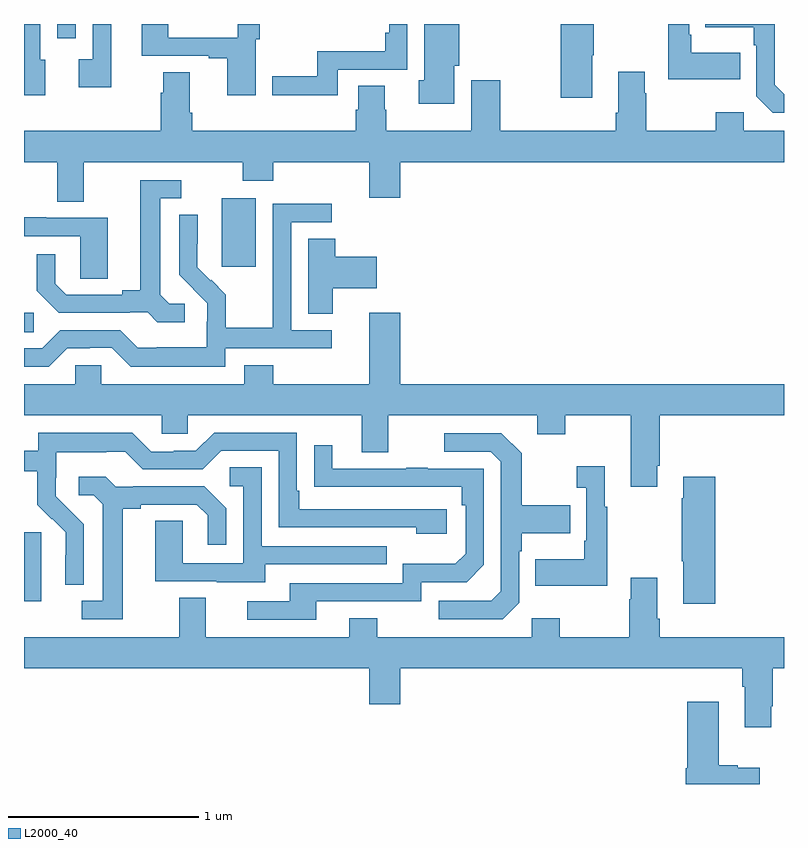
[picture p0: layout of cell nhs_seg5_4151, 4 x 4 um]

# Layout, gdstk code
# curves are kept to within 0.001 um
import gdstk
lib = gdstk.Library(unit=1e-6, precision=1e-09)
def R(c, l, rs):  # rectangles x0, y0, x1, y1
    for r in rs: c.add(gdstk.rectangle(r[:2], r[2:], *l))
def P(c, l, *ps):  # polygons
    for p in ps: c.add(gdstk.Polygon(p, *l))
L2000_40 = (2000, 40)

nhs_seg5_4151 = lib.new_cell('nhs_seg5_4151')
R(nhs_seg5_4151, L2000_40, [(355,875.762,355.09,876.123), (355,877.177,355.051,877.278), (356.042,877.521,356.221,877.882), (355.176,878.724,355.272,878.799)])
P(nhs_seg5_4151, L2000_40, [(358.769,878.647),(358.513,878.647),(358.513,878.743),(358.5,878.743),(358.5,878.799),(358.392,878.799),(358.392,878.507),(358.769,878.507)],
  [(356.22,878.72),(356.24,878.72),(356.24,878.799),(356.124,878.799),(356.124,878.727),(355.759,878.727),(355.759,878.799),(355.619,878.799),(355.619,878.631),(355.973,878.631),(355.973,878.619),(356.069,878.619),(356.069,878.424),(356.22,878.424)],
  [(355.111,878.61),(355.086,878.61),(355.086,878.799),(355,878.799),(355,878.423),(355.111,878.423)],
  [(359,878.428),(358.95,878.478),(358.95,878.799),(358.585,878.799),(358.585,878.783),(358.842,878.783),(358.842,878.687),(358.854,878.687),(358.854,878.418),(358.941,878.331),(359,878.331)],
  [(356.652,878.559),(357.018,878.559),(357.018,878.799),(356.922,878.799),(356.922,878.752),(356.902,878.752),(356.902,878.656),(356.544,878.656),(356.544,878.525),(356.307,878.525),(356.307,878.423),(356.652,878.423)],
  [(357.991,878.635),(357.999,878.635),(357.999,878.799),(357.824,878.799),(357.824,878.412),(357.991,878.412)],
  [(355.459,878.799),(355.362,878.799),(355.362,878.614),(355.287,878.614),(355.287,878.466),(355.459,878.466)],
  [(357.265,878.58),(357.292,878.58),(357.292,878.799),(357.107,878.799),(357.107,878.504),(357.077,878.504),(357.077,878.378),(357.265,878.378)],
  [(359,878.236),(358.788,878.236),(358.788,878.335),(358.642,878.335),(358.642,878.236),(358.275,878.236),(358.275,878.435),(358.267,878.435),(358.267,878.548),(358.127,878.548),(358.127,878.332),(358.115,878.332),(358.115,878.236),(357.506,878.236),(357.506,878.503),(357.353,878.503),(357.353,878.236),(356.907,878.236),(356.907,878.349),(356.899,878.349),(356.899,878.474),(356.759,878.474),(356.759,878.349),(356.747,878.349),(356.747,878.236),(355.886,878.236),(355.886,878.332),(355.873,878.332),(355.873,878.546),(355.733,878.546),(355.733,878.438),(355.721,878.438),(355.721,878.236),(355,878.236),(355,878.072),(355.175,878.072),(355.175,877.864),(355.315,877.864),(355.315,878.072),(356.152,878.072),(356.152,877.973),(356.312,877.973),(356.312,878.072),(356.816,878.072),(356.816,877.884),(356.98,877.884),(356.98,878.072),(359,878.072)],
  [(355.846,877.326),(355.764,877.326),(355.717,877.373),(355.717,877.881),(355.828,877.881),(355.828,877.977),(355.613,877.977),(355.613,877.397),(355.517,877.397),(355.517,877.374),(355.222,877.374),(355.165,877.431),(355.165,877.588),(355.068,877.588),(355.068,877.394),(355.184,877.278),(355.556,877.278),(355.556,877.281),(355.65,877.281),(355.702,877.229),(355.846,877.229)],
  [(356.058,877.092),(356.62,877.092),(356.62,877.188),(356.406,877.188),(356.406,877.755),(356.62,877.755),(356.62,877.854),(356.31,877.854),(356.31,877.424),(356.308,877.424),(356.308,877.201),(356.063,877.201),(356.063,877.375),(355.986,877.452),(355.983,877.449),(355.913,877.52),(355.914,877.796),(355.818,877.796),(355.818,877.478),(355.964,877.33),(355.964,877.233),(355.962,877.233),(355.962,877.099),(355.699,877.099),(355.699,877.095),(355.599,877.095),(355.506,877.188),(355.191,877.188),(355.095,877.092),(355,877.092),(355,876.996),(355.131,876.996),(355.227,877.092),(355.346,877.092),(355.346,877.095),(355.461,877.095),(355.561,876.995),(356.058,876.995)],
  [(355.441,877.779),(355.117,877.779),(355.117,877.783),(355,877.783),(355,877.683),(355.296,877.683),(355.296,877.459),(355.441,877.459)],
  [(356.626,877.409),(356.857,877.409),(356.857,877.575),(356.639,877.575),(356.639,877.67),(356.495,877.67),(356.495,877.273),(356.626,877.273)],
  [(358.333,876.475),(358.346,876.475),(358.346,876.74),(359,876.74),(359,876.904),(356.98,876.904),(356.98,877.279),(356.816,877.279),(356.816,876.904),(356.312,876.904),(356.312,877.003),(356.159,877.003),(356.159,876.904),(355.407,876.904),(355.407,877.002),(355.269,877.002),(355.269,876.904),(355,876.904),(355,876.74),(355.725,876.74),(355.725,876.642),(355.863,876.642),(355.863,876.74),(356.777,876.74),(356.777,876.546),(356.917,876.546),(356.917,876.74),(357.701,876.74),(357.701,876.641),(357.849,876.641),(357.849,876.74),(358.193,876.74),(358.193,876.363),(358.333,876.363)],
  [(355.314,876.166),(355.168,876.314),(355.168,876.411),(355.17,876.411),(355.17,876.545),(355.433,876.545),(355.433,876.549),(355.533,876.549),(355.626,876.456),(355.941,876.456),(356.037,876.552),(356.34,876.552),(356.34,876.15),(357.065,876.15),(357.065,876.116),(357.226,876.116),(357.226,876.246),(356.449,876.246),(356.449,876.343),(356.436,876.343),(356.436,876.648),(356.001,876.648),(355.905,876.552),(355.787,876.552),(355.787,876.549),(355.671,876.549),(355.571,876.649),(355.074,876.649),(355.074,876.552),(355,876.552),(355,876.444),(355.069,876.444),(355.069,876.269),(355.146,876.192),(355.149,876.195),(355.22,876.125),(355.22,876.002),(355.218,876.002),(355.218,875.848),(355.314,875.848)],
  [(357.606,875.754),(357.606,876.023),(357.619,876.023),(357.619,876.119),(357.875,876.119),(357.875,876.267),(357.619,876.267),(357.619,876.539),(357.513,876.645),(357.213,876.645),(357.213,876.549),(357.456,876.549),(357.51,876.495),(357.51,875.814),(357.459,875.763),(357.183,875.763),(357.183,875.667),(357.519,875.667)],
  [(356.539,875.76),(357.09,875.76),(357.09,875.862),(357.33,875.862),(357.42,875.952),(357.42,876.459),(357.125,876.459),(357.125,876.464),(357.013,876.464),(357.013,876.459),(356.623,876.459),(356.623,876.583),(356.527,876.583),(356.527,876.364),(357.304,876.363),(357.304,876.266),(357.324,876.266),(357.324,876.012),(357.271,875.959),(356.994,875.959),(356.994,875.856),(356.399,875.856),(356.399,875.76),(356.175,875.76),(356.175,875.664),(356.539,875.664)],
  [(358.069,876.259),(358.057,876.259),(358.057,876.472),(357.909,876.472),(357.909,876.359),(357.96,876.359),(357.96,876.079),(357.948,876.079),(357.948,875.983),(357.691,875.983),(357.691,875.843),(358.069,875.843)],
  [(356.269,875.955),(356.909,875.955),(356.909,876.051),(356.25,876.051),(356.25,876.467),(356.082,876.467),(356.082,876.366),(356.154,876.366),(356.154,875.961),(355.836,875.961),(355.836,876.185),(355.691,876.185),(355.691,875.865),(356.015,875.865),(356.015,875.861),(356.269,875.861)],
  [(355.519,876.248),(355.615,876.248),(355.615,876.27),(355.91,876.27),(355.967,876.213),(355.967,876.057),(356.064,876.057),(356.064,876.25),(355.948,876.366),(355.576,876.366),(355.576,876.363),(355.482,876.363),(355.43,876.415),(355.287,876.415),(355.287,876.318),(355.368,876.318),(355.415,876.271),(355.415,875.763),(355.305,875.763),(355.305,875.667),(355.519,875.667)],
  [(358.637,876.415),(358.469,876.415),(358.469,876.302),(358.462,876.302),(358.462,875.971),(358.469,875.971),(358.469,875.748),(358.637,875.748)],
  [(358.933,875.209),(358.941,875.209),(358.941,875.408),(359,875.408),(359,875.572),(358.346,875.572),(358.346,875.668),(358.333,875.668),(358.333,875.884),(358.193,875.884),(358.193,875.771),(358.186,875.771),(358.186,875.572),(357.819,875.572),(357.819,875.671),(357.672,875.671),(357.672,875.572),(356.859,875.572),(356.859,875.671),(356.711,875.671),(356.711,875.572),(355.957,875.572),(355.957,875.78),(355.817,875.78),(355.817,875.572),(355,875.572),(355,875.408),(356.816,875.408),(356.816,875.22),(356.98,875.22),(356.98,875.408),(358.781,875.408),(358.781,875.312),(358.793,875.312),(358.793,875.097),(358.933,875.097)],
  [(358.873,874.885),(358.757,874.885),(358.757,874.898),(358.657,874.898),(358.657,875.233),(358.49,875.233),(358.49,874.881),(358.484,874.881),(358.484,874.799),(358.873,874.799)])

lib.write_gds('nhs_seg5_4151.gds')
